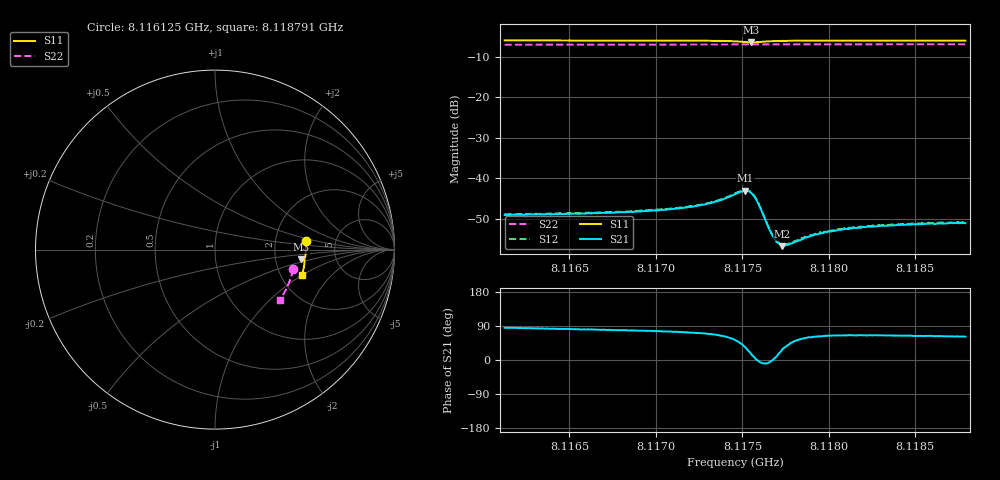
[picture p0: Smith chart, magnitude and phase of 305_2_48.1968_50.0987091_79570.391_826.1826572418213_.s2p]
#  HZ  S  RI  R  50.00
! Rohde & Schwarz Vector Network Analyzer
! Rohde-Schwarz,ZNB20-2Port,1311601062101988,3.16
! Created: UTC 3/20/2024, 11:49:44 AM
! freq[Hz]  re:S11  im:S11  re:S21  im:S21  re:S12  im:S12  re:S22  im:S22
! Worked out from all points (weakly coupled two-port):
!   401 points, 8.116125 GHz to 8.118791 GHz, reference 50 ohm
!   highest |S21| = -43.07 dB at 8.117518 GHz (marker M1); lowest = -56.8 dB at 8.117731 GHz (marker M2)
!   lowest |S11| = -6.4 dB at 8.117551 GHz (marker M3), VSWR 2.85, Z = 139 - j19.2 ohm
!   |S11| at or under -10 dB: nowhere
!   |S22| runs from -7.0 to -6.8 dB; largest |S21 - S12| = 0.00019
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8.1161247e9  0.5048 0.0488  0.000299 0.0035  0.000363 0.00353  0.4351 -0.11
8.1165712e9  0.5063 0.0152  0.000599 0.00362  0.000612 0.00367  0.4275 -0.14
8.1170178e9  0.5053 -0.0195  0.000969 0.00393  0.00104 0.004  0.4181 -0.1697
8.1171511e9  0.5041 -0.0304  0.0012 0.0041  0.00125 0.00419  0.4148 -0.1783
8.1173043e9  0.5013 -0.044  0.00176 0.00453  0.00184 0.00458  0.4108 -0.1884
8.117371e9  0.4989 -0.0506  0.00227 0.00483  0.00238 0.0049  0.4088 -0.1928
8.1174576e9  0.4914 -0.0592  0.00381 0.00507  0.00396 0.00515  0.4062 -0.1984
8.1175176e9  0.4809 -0.0594  0.00588 0.00385  0.00604 0.00387  0.404 -0.2018
8.1175509e9  0.4772 -0.053  0.00632 0.00186  0.0065 0.00181  0.403 -0.2034
8.1175709e9  0.4785 -0.0486  0.00583 0.000612  0.00596 0.000545  0.4027 -0.2045
8.1175909e9  0.4819 -0.0457  0.00493 -0.000193  0.00499 -0.000266  0.4023 -0.2057
8.1176509e9  0.4926 -0.0478  0.00245 -0.000323  0.00249 -0.000353  0.4011 -0.2095
8.1176776e9  0.4952 -0.051  0.00191 1.46e-05  0.00193 4e-05  0.4002 -0.2112
8.1177042e9  0.4968 -0.0542  0.00155 0.000349  0.00158 0.000332  0.3996 -0.213
8.1177309e9  0.4978 -0.0573  0.00129 0.000654  0.00133 0.000685  0.3987 -0.2146
8.1177775e9  0.4988 -0.0624  0.0011 0.00108  0.00112 0.00107  0.3974 -0.2178
8.1178309e9  0.4989 -0.0678  0.001 0.0014  0.00104 0.00143  0.3956 -0.2212
8.1179042e9  0.4986 -0.0745  0.000983 0.00167  0.000967 0.00172  0.3934 -0.2258
8.1179908e9  0.4978 -0.0819  0.000963 0.00192  0.00101 0.00199  0.3907 -0.2312
8.1181041e9  0.4964 -0.0912  0.00101 0.00214  0.00104 0.00219  0.3868 -0.2382
8.1183507e9  0.4926 -0.11  0.0011 0.00235  0.00115 0.00241  0.3781 -0.2531
8.1187906e9  0.484 -0.1422  0.00132 0.00245  0.00135 0.0025  0.3609 -0.2789
